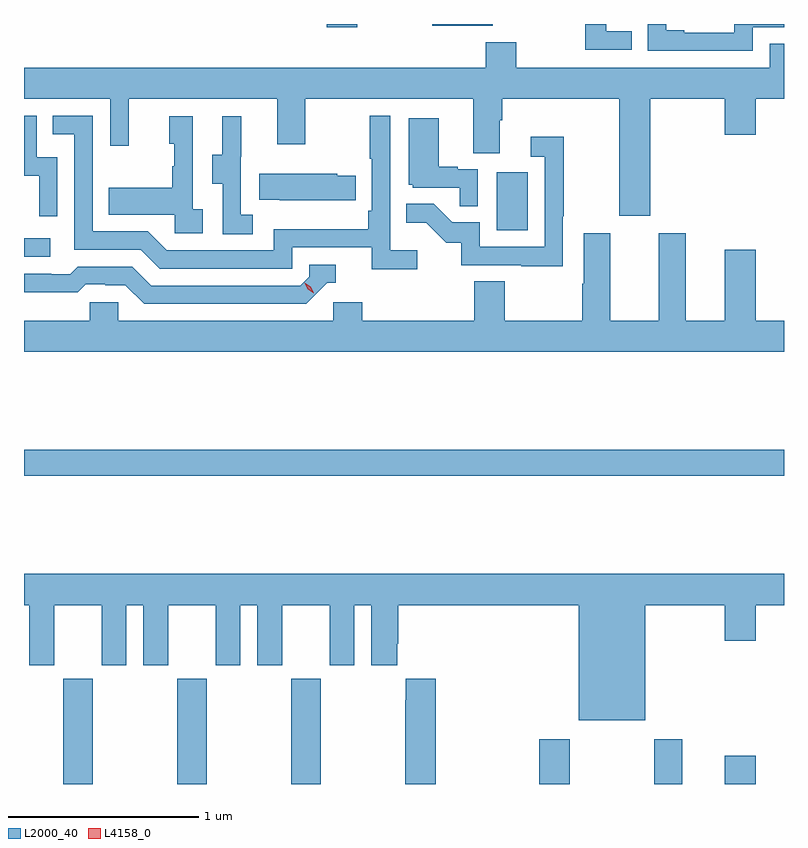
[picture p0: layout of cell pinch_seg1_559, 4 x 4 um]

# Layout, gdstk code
import gdstk
lib = gdstk.Library(unit=1e-6, precision=1e-09)
def R(c, l, rs):  # rectangles x0, y0, x1, y1
    for r in rs: c.add(gdstk.rectangle(r[:2], r[2:], *l))
def A(c, l, x, y, w, h, nx, ny, dx, dy):  # array of equal rectangles
    R(c, l, [(x+i*dx, y+j*dy, x+i*dx+w, y+j*dy+h) for i in range(nx) for j in range(ny)])
def P(c, l, *ps):  # polygons
    for p in ps: c.add(gdstk.Polygon(p, *l))
L2000_40 = (2000, 40)
L4158_0 = (4158, 0)

pinch_seg1_559 = lib.new_cell('pinch_seg1_559')
A(pinch_seg1_559, L2000_40, 1024.663, 520.154, 0.155, 0.554, 3, 1, 0.6, 0)
R(pinch_seg1_559, L2000_40, [(1027.169,520.154,1027.329,520.39), (1027.774,520.154,1027.921,520.39), (1028.144,520.154,1028.308,520.303), (1024.457,521.776,1028.457,521.912), (1024.457,522.93,1024.594,523.026), (1026.944,523.068,1027.108,523.375), (1026.05,524.136,1026.211,524.154), (1026.605,524.144,1026.923,524.154)])
P(pinch_seg1_559, L2000_40, [(1028.292,524.136),(1028.457,524.136),(1028.457,524.154),(1028.196,524.154),(1028.196,524.109),(1027.933,524.109),(1027.933,524.121),(1027.837,524.121),(1027.837,524.154),(1027.74,524.154),(1027.74,524.013),(1028.292,524.013)],
  [(1027.655,524.116),(1027.521,524.116),(1027.521,524.154),(1027.41,524.154),(1027.41,524.019),(1027.655,524.019)],
  [(1027.753,523.76),(1028.144,523.76),(1028.144,523.572),(1028.308,523.572),(1028.308,523.76),(1028.457,523.76),(1028.457,524.051),(1028.382,524.051),(1028.382,523.924),(1027.047,523.924),(1027.047,524.059),(1026.887,524.059),(1026.887,523.924),(1024.457,523.924),(1024.457,523.76),(1024.911,523.76),(1024.911,523.512),(1025.009,523.512),(1025.009,523.76),(1025.789,523.76),(1025.789,523.52),(1025.937,523.52),(1025.937,523.76),(1026.821,523.76),(1026.821,523.474),(1026.961,523.474),(1026.961,523.648),(1026.974,523.648),(1026.974,523.76),(1027.589,523.76),(1027.589,523.145),(1027.753,523.145)],
  [(1026.526,522.964),(1026.384,522.964),(1026.384,523.672),(1026.276,523.672),(1026.276,523.444),(1026.288,523.444),(1026.288,523.171),(1026.268,523.171),(1026.268,523.075),(1025.772,523.075),(1025.772,522.963),(1025.208,522.963),(1025.109,523.062),(1024.818,523.062),(1024.818,523.671),(1024.609,523.671),(1024.609,523.575),(1024.722,523.575),(1024.722,522.966),(1025.072,522.966),(1025.171,522.867),(1025.868,522.867),(1025.868,522.978),(1026.287,522.978),(1026.287,522.862),(1026.526,522.862)],
  [(1024.632,523.452),(1024.524,523.452),(1024.524,523.671),(1024.457,523.671),(1024.457,523.355),(1024.536,523.355),(1024.536,523.143),(1024.632,523.143)],
  [(1025.662,523.151),(1025.598,523.151),(1025.598,523.455),(1025.6,523.455),(1025.6,523.669),(1025.501,523.669),(1025.501,523.467),(1025.447,523.467),(1025.447,523.312),(1025.502,523.312),(1025.502,523.048),(1025.662,523.048)],
  [(1025.398,523.178),(1025.346,523.178),(1025.346,523.669),(1025.222,523.669),(1025.222,523.524),(1025.248,523.524),(1025.248,523.406),(1025.238,523.406),(1025.238,523.291),(1024.903,523.291),(1024.903,523.151),(1025.25,523.151),(1025.25,523.053),(1025.398,523.053)],
  [(1026.846,523.389),(1026.74,523.389),(1026.74,523.402),(1026.64,523.402),(1026.64,523.657),(1026.482,523.657),(1026.482,523.308),(1026.504,523.308),(1026.504,523.293),(1026.751,523.293),(1026.751,523.195),(1026.846,523.195)],
  [(1027.293,523.141),(1027.298,523.141),(1027.298,523.561),(1027.125,523.561),(1027.125,523.455),(1027.197,523.455),(1027.197,522.981),(1026.855,522.981),(1026.855,523.11),(1026.711,523.11),(1026.613,523.208),(1026.469,523.208),(1026.469,523.109),(1026.573,523.109),(1026.68,523.002),(1026.757,523.002),(1026.757,522.885),(1027.075,522.885),(1027.075,522.88),(1027.293,522.88)],
  [(1026.203,523.356),(1026.105,523.356),(1026.105,523.366),(1025.695,523.366),(1025.695,523.229),(1025.803,523.229),(1025.803,523.226),(1026.203,523.226)],
  [(1028.457,522.592),(1028.308,522.592),(1028.308,522.967),(1028.144,522.967),(1028.144,522.592),(1027.939,522.592),(1027.939,523.054),(1027.799,523.054),(1027.799,522.592),(1027.543,522.592),(1027.543,523.054),(1027.403,523.054),(1027.403,522.788),(1027.396,522.788),(1027.396,522.592),(1026.987,522.592),(1026.987,522.8),(1026.827,522.8),(1026.827,522.592),(1026.236,522.592),(1026.236,522.69),(1026.084,522.69),(1026.084,522.592),(1024.953,522.592),(1024.953,522.69),(1024.803,522.69),(1024.803,522.592),(1024.457,522.592),(1024.457,522.428),(1028.457,522.428)],
  [(1026.054,522.792),(1026.097,522.792),(1026.097,522.888),(1025.958,522.888),(1025.958,522.825),(1025.91,522.777),(1025.127,522.777),(1025.028,522.876),(1024.739,522.876),(1024.7,522.837),(1024.601,522.837),(1024.601,522.84),(1024.457,522.84),(1024.457,522.743),(1024.506,522.743),(1024.506,522.741),(1024.739,522.741),(1024.781,522.783),(1024.884,522.783),(1024.884,522.78),(1024.991,522.78),(1025.09,522.681),(1025.943,522.681)],
  [(1027.726,521.096),(1028.144,521.096),(1028.144,520.908),(1028.308,520.908),(1028.308,521.096),(1028.457,521.096),(1028.457,521.26),(1024.457,521.26),(1024.457,521.096),(1024.484,521.096),(1024.484,520.779),(1024.615,520.779),(1024.615,521.096),(1024.865,521.096),(1024.865,520.779),(1024.996,520.779),(1024.996,521.096),(1025.084,521.096),(1025.084,520.779),(1025.215,520.779),(1025.215,521.096),(1025.465,521.096),(1025.465,520.779),(1025.596,520.779),(1025.596,521.096),(1025.684,521.096),(1025.684,520.779),(1025.815,520.779),(1025.815,521.096),(1026.065,521.096),(1026.065,520.779),(1026.196,520.779),(1026.196,521.096),(1026.284,521.096),(1026.284,520.779),(1026.421,520.779),(1026.421,520.891),(1026.428,520.891),(1026.428,521.096),(1027.376,521.096),(1027.376,520.49),(1027.726,520.49)],
  [(1026.623,520.708),(1026.467,520.708),(1026.467,520.595),(1026.463,520.595),(1026.463,520.154),(1026.623,520.154)])
P(pinch_seg1_559, L4158_0, [(1025.981,522.738),(1025.95,522.758),(1025.934,522.79),(1025.934,522.791),(1025.934,522.791),(1025.965,522.771),(1025.981,522.739),(1025.981,522.738)])

lib.write_gds('pinch_seg1_559.gds')
